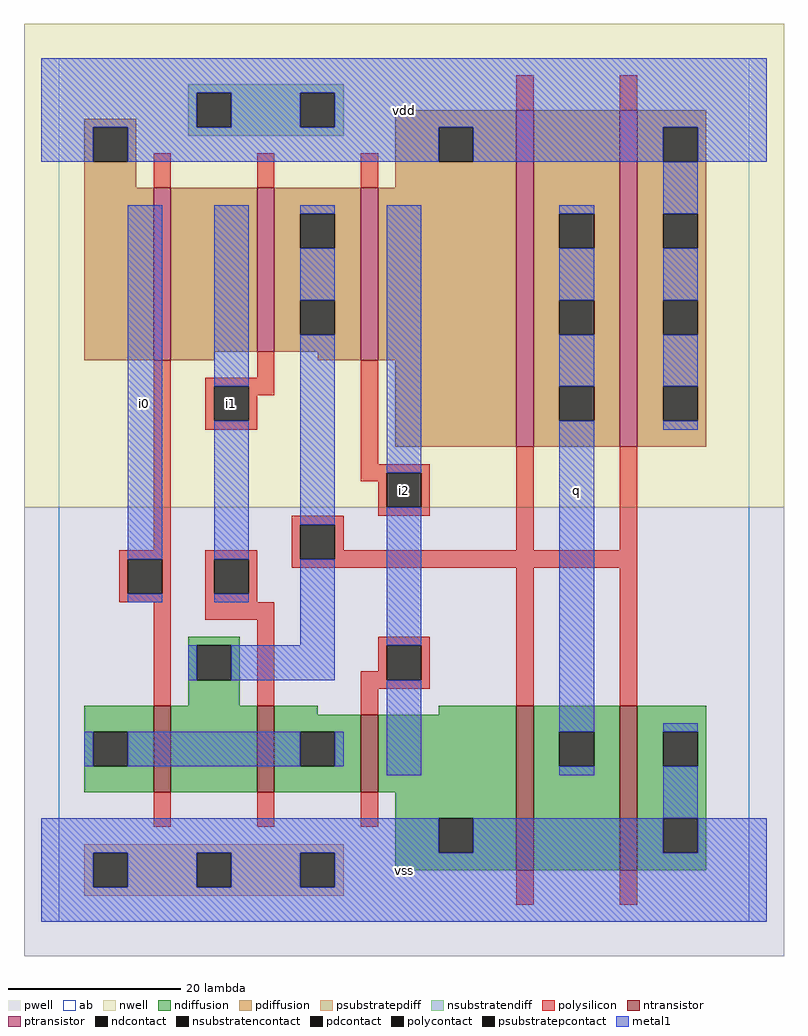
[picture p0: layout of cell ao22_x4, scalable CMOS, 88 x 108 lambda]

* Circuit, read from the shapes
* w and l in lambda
.subckt ao22_x4 i0 i1 i2 q vdd vss
M1 n1 i0 n2 vss nfet w=10 l=2
M2 n2 i1 n1 vss nfet w=10 l=2
M3 vss i2 n2 vss nfet w=9 l=2
M4 q n1 vss vss nfet w=19 l=2 m=2
M5 n3 i0 vdd vdd pfet w=20 l=2
M6 n1 i1 n3 vdd pfet w=19 l=2
M7 vdd i2 n1 vdd pfet w=20 l=2
M8 q n1 vdd vdd pfet w=39 l=2 m=2
.ends

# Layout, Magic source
magic
tech scmos
<< ab >>
rect 0 0 80 100
<< pwell >>
rect -4 -4 84 48
<< nwell >>
rect -4 48 84 104
<< polysilicon >>
rect 53 94 55 98
rect 65 94 67 98
rect 11 85 13 89
rect 23 85 25 89
rect 35 85 37 89
rect 11 43 13 65
rect 23 63 25 66
rect 17 62 25 63
rect 17 58 18 62
rect 22 61 25 62
rect 22 58 23 61
rect 17 57 23 58
rect 35 53 37 65
rect 35 52 43 53
rect 35 51 38 52
rect 37 48 38 51
rect 42 48 43 52
rect 37 47 43 48
rect 27 46 33 47
rect 7 42 13 43
rect 7 38 8 42
rect 12 38 13 42
rect 7 37 13 38
rect 11 25 13 37
rect 17 42 23 43
rect 17 38 18 42
rect 22 38 23 42
rect 27 42 28 46
rect 32 43 33 46
rect 53 43 55 55
rect 65 43 67 55
rect 32 42 67 43
rect 27 41 67 42
rect 17 37 23 38
rect 17 35 25 37
rect 23 25 25 35
rect 37 32 43 33
rect 37 29 38 32
rect 35 28 38 29
rect 42 28 43 32
rect 35 27 43 28
rect 35 24 37 27
rect 53 25 55 41
rect 65 25 67 41
rect 11 11 13 15
rect 23 11 25 15
rect 35 11 37 15
rect 53 2 55 6
rect 65 2 67 6
<< ndiffusion >>
rect 15 32 21 33
rect 15 28 16 32
rect 20 28 21 32
rect 15 25 21 28
rect 3 22 11 25
rect 3 18 4 22
rect 8 18 11 22
rect 3 15 11 18
rect 13 15 23 25
rect 25 24 30 25
rect 44 24 53 25
rect 25 22 35 24
rect 25 18 28 22
rect 32 18 35 22
rect 25 15 35 18
rect 37 15 53 24
rect 39 12 53 15
rect 39 8 44 12
rect 48 8 53 12
rect 39 6 53 8
rect 55 22 65 25
rect 55 18 58 22
rect 62 18 65 22
rect 55 6 65 18
rect 67 22 75 25
rect 67 18 70 22
rect 74 18 75 22
rect 67 12 75 18
rect 67 8 70 12
rect 74 8 75 12
rect 67 6 75 8
<< pdiffusion >>
rect 3 92 9 93
rect 3 88 4 92
rect 8 88 9 92
rect 39 92 53 94
rect 3 85 9 88
rect 39 88 44 92
rect 48 88 53 92
rect 39 85 53 88
rect 3 65 11 85
rect 13 66 23 85
rect 25 82 35 85
rect 25 78 28 82
rect 32 78 35 82
rect 25 72 35 78
rect 25 68 28 72
rect 32 68 35 72
rect 25 66 35 68
rect 13 65 18 66
rect 30 65 35 66
rect 37 65 53 85
rect 39 55 53 65
rect 55 82 65 94
rect 55 78 58 82
rect 62 78 65 82
rect 55 72 65 78
rect 55 68 58 72
rect 62 68 65 72
rect 55 62 65 68
rect 55 58 58 62
rect 62 58 65 62
rect 55 55 65 58
rect 67 92 75 94
rect 67 88 70 92
rect 74 88 75 92
rect 67 82 75 88
rect 67 78 70 82
rect 74 78 75 82
rect 67 72 75 78
rect 67 68 70 72
rect 74 68 75 72
rect 67 62 75 68
rect 67 58 70 62
rect 74 58 75 62
rect 67 55 75 58
<< metal1 >>
rect -2 96 82 100
rect -2 92 16 96
rect 20 92 28 96
rect 32 92 82 96
rect -2 88 4 92
rect 8 88 44 92
rect 48 88 70 92
rect 74 88 82 92
rect 8 42 12 83
rect 8 37 12 38
rect 18 62 22 83
rect 18 42 22 58
rect 18 37 22 38
rect 28 82 32 83
rect 28 72 32 78
rect 28 46 32 68
rect 28 32 32 42
rect 15 28 16 32
rect 20 28 32 32
rect 38 52 42 83
rect 38 32 42 48
rect 3 18 4 22
rect 8 18 28 22
rect 32 18 33 22
rect 38 17 42 28
rect 58 82 62 83
rect 58 72 62 78
rect 58 62 62 68
rect 58 22 62 58
rect 70 82 74 88
rect 70 72 74 78
rect 70 62 74 68
rect 70 57 74 58
rect 58 17 62 18
rect 70 22 74 23
rect 70 12 74 18
rect -2 8 44 12
rect 48 8 70 12
rect 74 8 82 12
rect -2 4 4 8
rect 8 4 16 8
rect 20 4 28 8
rect 32 4 82 8
rect -2 0 82 4
<< ntransistor >>
rect 11 15 13 25
rect 23 15 25 25
rect 35 15 37 24
rect 53 6 55 25
rect 65 6 67 25
<< ptransistor >>
rect 11 65 13 85
rect 23 66 25 85
rect 35 65 37 85
rect 53 55 55 94
rect 65 55 67 94
<< polycontact >>
rect 18 58 22 62
rect 38 48 42 52
rect 8 38 12 42
rect 18 38 22 42
rect 28 42 32 46
rect 38 28 42 32
<< ndcontact >>
rect 16 28 20 32
rect 4 18 8 22
rect 28 18 32 22
rect 44 8 48 12
rect 58 18 62 22
rect 70 18 74 22
rect 70 8 74 12
<< pdcontact >>
rect 4 88 8 92
rect 44 88 48 92
rect 28 78 32 82
rect 28 68 32 72
rect 58 78 62 82
rect 58 68 62 72
rect 58 58 62 62
rect 70 88 74 92
rect 70 78 74 82
rect 70 68 74 72
rect 70 58 74 62
<< psubstratepcontact >>
rect 4 4 8 8
rect 16 4 20 8
rect 28 4 32 8
<< nsubstratencontact >>
rect 16 92 20 96
rect 28 92 32 96
<< psubstratepdiff >>
rect 3 8 33 9
rect 3 4 4 8
rect 8 4 16 8
rect 20 4 28 8
rect 32 4 33 8
rect 3 3 33 4
<< nsubstratendiff >>
rect 15 96 33 97
rect 15 92 16 96
rect 20 92 28 96
rect 32 92 33 96
rect 15 91 33 92
<< labels >>
rlabel metal1 10 60 10 60 6 i0
rlabel polycontact 20 60 20 60 6 i1
rlabel metal1 40 6 40 6 6 vss
rlabel polycontact 40 50 40 50 6 i2
rlabel metal1 40 94 40 94 6 vdd
rlabel metal1 60 50 60 50 6 q
<< end >>
